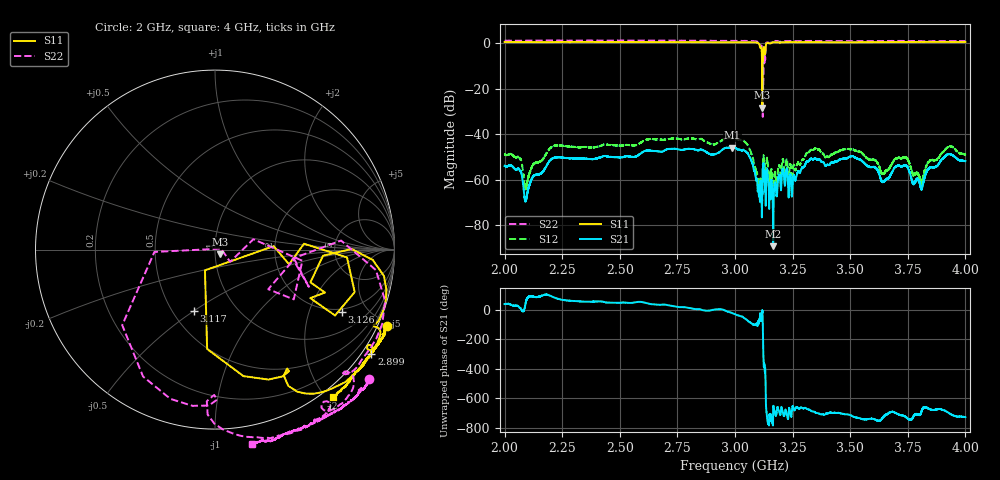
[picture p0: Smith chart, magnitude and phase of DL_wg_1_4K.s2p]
!Agilent Technologies,N5230C,SG49000117,A.08.50.07
!Agilent N5230C: A.08.50.07
!Date: Tuesday, May 07, 2024 00:16:24
!Correction: S11(Full 2 Port(1,2))
!S21(Full 2 Port(1,2))
!S12(Full 2 Port(1,2))
!S22(Full 2 Port(1,2))
!S2P File: Measurements: S11, S21, S12, S22:
# Hz S  MA  R 50
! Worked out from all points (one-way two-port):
!   20001 points, 2 GHz to 4 GHz, reference 50 ohm
!   highest |S21| = -45.91 dB at 2.988 GHz (marker M1); lowest = -89.2 dB at 3.166 GHz (marker M2)
!   lowest |S11| = -28.4 dB at 3.118 GHz (marker M3), VSWR 1.08, Z = 52.6 - j2.85 ohm
!   |S11| at or under -10 dB: 3.117529 GHz to 3.119247 GHz (1.718 MHz wide, 0.0551 % of centre)
!   |S22| runs from -32.4 to 1.1 dB; largest |S21 - S12| = 0.0044
!   S11 on the Smith chart (normalised r, x): 2 GHz: -0.58, -4.64; 2.899 GHz: -0.27, -3.29; 3.117 GHz: 0.64, -0.50; 3.126 GHz: 1.82, -3.37; 4 GHz: -0.14, -2.08
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2e9  1.052 -24.0  0.002009 40.1  0.003623 21.3  1.124 -40.0
2.065e9  1.052 -24.7  0.001627 15.1  0.002971 -2.9  1.124 -40.9
2.0928e9  1.05 -24.8  0.0003671 57.5  0.0006886 38.0  1.127 -41.1
2.2056e9  1.047 -25.6  0.002859 91.3  0.005226 71.3  1.134 -42.9
2.3334e9  1.058 -26.9  0.002912 57.8  0.005153 37.9  1.13 -45.2
2.6667e9  1.052 -30.2  0.004191 35.1  0.007606 11.1  1.129 -50.9
2.899e9  1.046 -33.7  0.003528 -0.7  0.005979 -27.1  1.115 -57.0
2.988e9  1.042 -36.0  0.005066 -21.0  0.008106 -48.3  1.112 -60.2
3e9  1.042 -36.5  0.004938 -28.6  0.007846 -55.0  1.111 -60.9
3.0564e9  1.04 -39.4  0.003758 -74.3  0.005687 -104.8  1.108 -65.3
3.0965e9  1.016 -49.0  0.0009175 -105.1  0.001292 -134.4  1.068 -77.9
3.1174e9  0.3635 -108.8  0.0003513 -20.6  0.0003146 -36.0  0.7512 -129.6
3.1183e9  0.03787 -45.6  0.0005555 -18.9  0.0005364 -23.9  0.6098 -147.7
3.1255e9  0.7887 -26.2  0.001336 -26.7  0.001987 -37.2  0.5342 -27.6
3.1386e9  0.996 -18.2  0.001648 -1.9  0.002926 -15.6  1.026 -32.0
3.1657e9  1.038 -27.9  3.451e-05 -3.5  7.383e-05 -28.9  1.101 -47.4
3.3334e9  1.048 -37.9  0.002846 32.5  0.004452 9.2  1.109 -62.4
3.6667e9  1.05 -44.8  0.001071 19.7  0.001685 -7.9  1.105 -72.5
3.739e9  1.053 -46.3  0.002027 -3.5  0.003044 -33.2  1.108 -74.1
3.8089e9  1.05 -47.6  0.0006216 26.8  0.0008389 -2.6  1.098 -75.9
3.9243e9  1.053 -49.9  0.003603 24.9  0.005186 -1.2  1.096 -78.2
4e9  1.054 -51.2  0.002563 -7.6  0.00357 -37.3  1.105 -79.2
